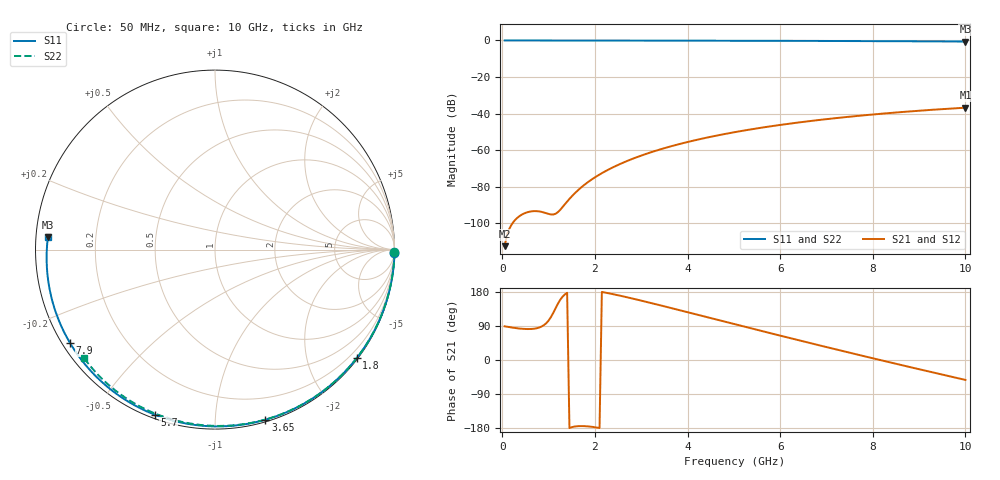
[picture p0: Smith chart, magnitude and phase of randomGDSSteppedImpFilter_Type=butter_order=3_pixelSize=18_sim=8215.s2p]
! freq	dB(S11)	phase(S11)	dB(S12)	phase(S12)
!  dB(S21)	phase(S21)	dB(S22)	phase(S22)
!S-par simulation data
#  GHz  S  DB  R 50
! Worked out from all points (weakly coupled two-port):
!   200 points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, 50 MHz to 10 GHz, reference 50 ohm
!   highest |S21| = -36.75 dB at 10 GHz (marker M1); lowest = -112.4 dB at 50 MHz (marker M2)
!   lowest |S11| = -0.6 dB at 10 GHz (marker M3), VSWR 29.16, Z = 1.72 + j1.83 ohm
!   |S11| at or under -10 dB: nowhere
!   |S22| runs from -0.5 to 0.0 dB; largest |S21 - S12| = 0
!   S11 on the Smith chart (normalised r, x): 50 MHz: open; 1.8 GHz: 0.03, -2.95; 3.65 GHz: 0.02, -1.34; 5.7 GHz: 0.02, -0.70; 7.9 GHz: 0.02, -0.29; 10 GHz: 0.03, +0.04
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0.05  -0.00 -1.1  -112.43 88.9  -112.43 88.9  -0.00 -0.8
0.45  -0.01 -9.5  -94.81 82.2  -94.81 82.2  -0.01 -7.3
0.85  -0.02 -17.9  -93.68 88.4  -93.68 88.4  -0.02 -13.8
1.25  -0.03 -26.2  -92.59 158.7  -92.59 158.7  -0.03 -20.1
1.7  -0.05 -35.4  -80.40 -174.3  -80.40 -174.3  -0.03 -27.3
1.75  -0.05 -36.4  -79.35 -174.4  -79.35 -174.4  -0.04 -28.0
1.8  -0.05 -37.4  -78.36 -174.7  -78.36 -174.7  -0.04 -28.8
2.1  -0.06 -43.5  -73.27 -179.4  -73.27 -179.4  -0.04 -33.5
2.5  -0.07 -51.4  -68.02 170.9  -68.02 170.9  -0.05 -39.7
2.9  -0.08 -59.2  -63.84 159.6  -63.84 159.6  -0.06 -45.8
3.4  -0.09 -68.8  -59.61 144.7  -59.61 144.7  -0.07 -53.3
3.65  -0.10 -73.5  -57.79 137.0  -57.79 137.0  -0.08 -57.0
4.35  -0.12 -86.3  -53.46 115.3  -53.46 115.3  -0.10 -67.2
5.05  -0.15 -98.8  -49.97 93.6  -49.97 93.6  -0.12 -77.0
5.7  -0.18 -110.1  -47.27 73.5  -47.27 73.5  -0.14 -85.9
6.2  -0.21 -118.7  -45.48 58.2  -45.48 58.2  -0.17 -92.6
6.7  -0.25 -127.1  -43.88 43.1  -43.88 43.1  -0.19 -99.2
7.3  -0.29 -137.2  -42.18 25.2  -42.18 25.2  -0.23 -106.9
7.9  -0.35 -147.3  -40.69 7.5  -40.69 7.5  -0.27 -114.5
8.35  -0.39 -154.9  -39.69 -5.6  -39.69 -5.6  -0.31 -120.1
9.2  -0.49 -169.7  -38.04 -30.0  -38.04 -30.0  -0.38 -130.6
10  -0.60 175.8  -36.75 -52.5  -36.75 -52.5  -0.47 -140.4
